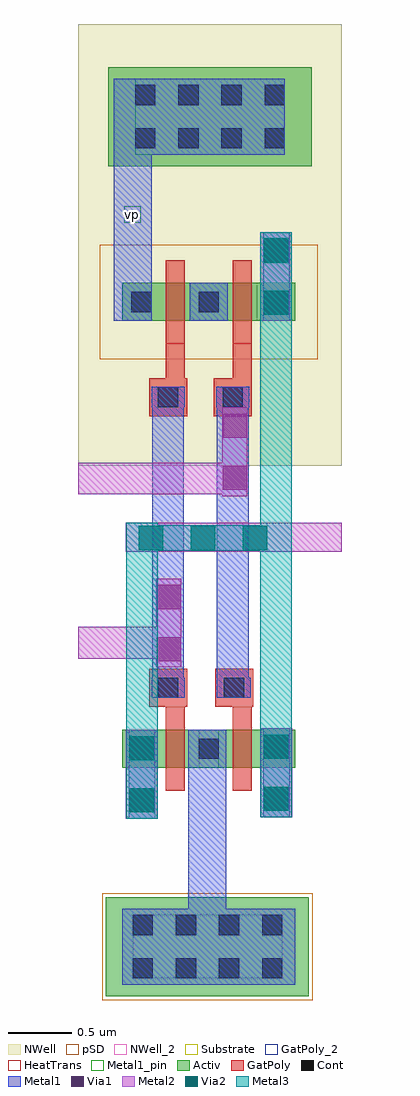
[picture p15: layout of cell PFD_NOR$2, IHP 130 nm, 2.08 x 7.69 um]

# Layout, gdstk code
import gdstk
lib = gdstk.Library(unit=1e-6, precision=1e-09)
def R(c, l, rs):  # rectangles x0, y0, x1, y1
    for r in rs: c.add(gdstk.rectangle(r[:2], r[2:], *l))
def A(c, l, x, y, w, h, nx, ny, dx, dy):  # array of equal rectangles
    R(c, l, [(x+i*dx, y+j*dy, x+i*dx+w, y+j*dy+h) for i in range(nx) for j in range(ny)])
Activ = (1, 0)
GatPoly = (5, 0)
GatPoly_2 = (5, 2)
Cont = (6, 0)
Metal1 = (8, 0)
Metal1_pin = (8, 2)
Metal2 = (10, 0)
pSD = (14, 0)
Via1 = (19, 0)
Via2 = (29, 0)
Metal3 = (30, 0)
NWell = (31, 0)
NWell_2 = (31, 2)
Substrate = (40, 0)
HeatTrans = (51, 0)

pmos_5 = lib.new_cell('pmos$5')
R(pmos_5, Activ, [(0,0,0.3,0.3), (0,0,0.83,0.3), (0.53,0,0.83,0.3)])
R(pmos_5, GatPoly, [(0.34,-0.18,0.49,0.48), (0.34,-0.18,0.49,0.48)])
R(pmos_5, Cont, [(0.07,0.07,0.23,0.23), (0.6,0.07,0.76,0.23)])
R(pmos_5, Metal1, [(0.07,0,0.23,0.3), (0.07,0,0.23,0.3), (0.6,0,0.76,0.3), (0.6,0,0.76,0.3)])
R(pmos_5, pSD, [(-0.18,-0.3,1.01,0.6)])
R(pmos_5, NWell, [(-0.31,-0.31,1.14,0.61)])
R(pmos_5, Substrate, [(0.53,0,0.83,0.3)])
R(pmos_5, HeatTrans, [(0.34,-0.18,0.49,0.48)])
pmos_5.add(gdstk.Label('pmos', (0.415,0.15), layer=63, texttype=0))
pmos_5.add(gdstk.Label('pmos', (0.415,0.15), layer=51, texttype=0))

ntap1_5 = lib.new_cell('ntap1$5')
R(ntap1_5, Activ, [(0,0,1.6,0.78)])
A(ntap1_5, Cont, 0.21, 0.14, 0.16, 0.16, 4, 2, 0.34, 0.34)
R(ntap1_5, Metal1, [(0.21,0.09,1.39,0.69)])
R(ntap1_5, Metal1_pin, [(0.21,0.09,1.39,0.69), (0.21,0.14,1.39,0.64)])
R(ntap1_5, NWell, [(-0.24,-0.24,1.84,1.02), (0,0,1.6,0.78)])
R(ntap1_5, NWell_2, [(0,0,1.6,0.78)])
ntap1_5.add(gdstk.Label('well', (0.8,0.01), layer=63, texttype=0))
ntap1_5.add(gdstk.Label('well', (0.8,0.01), layer=31, texttype=0))

via_5_4 = lib.new_cell('Via$5$4')
R(via_5_4, GatPoly, [(-0.15,-0.15,0.15,0.15)])
R(via_5_4, Cont, [(-0.08,-0.08,0.08,0.08)])
R(via_5_4, Metal1, [(-0.13,-0.08,0.13,0.08)])

via_6_3 = lib.new_cell('Via$6$3')
R(via_6_3, Metal1, [(-0.105,-0.35,0.105,0.35)])
R(via_6_3, Metal2, [(-0.1,-0.35,0.1,0.35)])
R(via_6_3, Via1, [(-0.095,-0.3,0.095,-0.11), (-0.095,0.11,0.095,0.3)])

ptap1_5 = lib.new_cell('ptap1$5')
R(ptap1_5, Activ, [(0,0,1.6,0.78)])
A(ptap1_5, Cont, 0.21, 0.14, 0.16, 0.16, 4, 2, 0.34, 0.34)
R(ptap1_5, Metal1, [(0.21,0.09,1.39,0.69), (0.21,0.14,1.39,0.64)])
R(ptap1_5, Metal1_pin, [(0.21,0.14,1.39,0.64)])
R(ptap1_5, pSD, [(-0.03,-0.03,1.63,0.81)])
R(ptap1_5, Substrate, [(0,0,1.6,0.78)])
ptap1_5.add(gdstk.Label('sub!', (0.8,0.01), layer=63, texttype=0))
ptap1_5.add(gdstk.Label('sub!', (0.8,0.01), layer=40, texttype=0))

nmos_5 = lib.new_cell('nmos$5')
R(nmos_5, Activ, [(0,0,0.3,0.3), (0,0,0.83,0.3), (0.53,0,0.83,0.3)])
R(nmos_5, GatPoly, [(0.34,-0.18,0.49,0.48)])
R(nmos_5, GatPoly_2, [(0.34,-0.18,0.49,0.48)])
R(nmos_5, Cont, [(0.07,0.07,0.23,0.23), (0.6,0.07,0.76,0.23)])
R(nmos_5, Metal1, [(0.07,0,0.23,0.3), (0.6,0,0.76,0.3)])
R(nmos_5, Metal1_pin, [(0.07,0,0.23,0.3), (0.6,0,0.76,0.3)])
R(nmos_5, HeatTrans, [(0.34,-0.18,0.49,0.48)])
nmos_5.add(gdstk.Label('nmos', (0.415,0.15), layer=63, texttype=0))
nmos_5.add(gdstk.Label('nmos', (0.415,0.15), layer=51, texttype=0))

via_15 = lib.new_cell('Via$15')
R(via_15, Metal2, [(-0.1,-0.35,0.1,0.35)])
R(via_15, Via2, [(-0.095,-0.3,0.095,-0.11), (-0.095,0.11,0.095,0.3)])
R(via_15, Metal3, [(-0.1,-0.35,0.1,0.35)])

via_7_3 = lib.new_cell('Via$7$3')
R(via_7_3, Metal2, [(-0.555,-0.1,0.555,0.1)])
A(via_7_3, Via2, -0.505, -0.095, 0.19, 0.19, 3, 1, 0.41, 0)
R(via_7_3, Metal3, [(-0.555,-0.1,0.555,0.1)])

pfd_nor_2 = lib.new_cell('PFD_NOR$2')
R(pfd_nor_2, GatPoly, [(0.53,0.13,0.68,0.41), (0,0.14,0.15,0.41)])
R(pfd_nor_2, Metal1, [(-0.34,-4.64,1.02,-4.04), (0.19,0.59,0.49,0.89)])
R(pfd_nor_2, Metal1_pin, [(-0.325,1.365,-0.195,1.495)])
R(pfd_nor_2, Metal2, [(-0.315,-1.23,1.39,-1)])
R(pfd_nor_2, NWell, [(-0.69,-0.55,1.39,2.93)])
pfd_nor_2.add(gdstk.FlexPath([(0.875,-2.62),(0.875,-3.32)], 0.25, ends="flush", simple_path=True, layer=10, datatype=0))  # Metal2
pfd_nor_2.add(gdstk.FlexPath([(-0.19,-2.63),(-0.19,-3.33)], 0.25, ends="flush", simple_path=True, layer=10, datatype=0))  # Metal2
pfd_nor_2.add(gdstk.FlexPath([(0.87,1.29),(0.87,0.59)], 0.25, ends="flush", simple_path=True, layer=10, datatype=0))  # Metal2
pfd_nor_2.add(gdstk.FlexPath([(0.64,-0.65),(-0.69,-0.65)], 0.25, ends="flush", simple_path=True, layer=10, datatype=0))  # Metal2
pfd_nor_2.add(gdstk.FlexPath([(0.125,-1.945),(-0.69,-1.945)], 0.25, ends="flush", simple_path=True, layer=10, datatype=0))  # Metal2
pfd_nor_2.add(gdstk.FlexPath([(0.87,-3.32),(0.87,1.29)], 0.25, ends="flush", simple_path=True, layer=30, datatype=0))  # Metal3
pfd_nor_2.add(gdstk.FlexPath([(-0.185,-3.33),(-0.185,-1)], 0.25, ends="flush", simple_path=True, layer=30, datatype=0))  # Metal3
pfd_nor_2.add(gdstk.FlexPath([(-0.26,0.59),(-0.26,2.5)], 0.3, ends="flush", simple_path=True, layer=8, datatype=0))  # Metal1
pfd_nor_2.add(gdstk.FlexPath([(0.02,0.07),(0.02,-2.38)], 0.25, ends="flush", simple_path=True, layer=8, datatype=0))  # Metal1
pfd_nor_2.add(gdstk.FlexPath([(0.53,0.07),(0.53,-2.38)], 0.25, ends="flush", simple_path=True, layer=8, datatype=0))  # Metal1
pfd_nor_2.add(gdstk.FlexPath([(0.33,-2.63),(0.33,-4.04)], 0.3, ends="flush", simple_path=True, layer=8, datatype=0))  # Metal1
pfd_nor_2.add(gdstk.Reference(pmos_5, (-0.34,0.59)))
pfd_nor_2.add(gdstk.Reference(pmos_5, (0.19,0.59)))
pfd_nor_2.add(gdstk.Reference(ntap1_5, (-0.45,1.81)))
pfd_nor_2.add(gdstk.Reference(via_5_4, (0.02,-0.01)))
pfd_nor_2.add(gdstk.Reference(via_5_4, (0.53,-0.01)))
pfd_nor_2.add(gdstk.Reference(via_5_4, (0.02,-2.3)))
pfd_nor_2.add(gdstk.Reference(via_5_4, (0.54,-2.3)))
pfd_nor_2.add(gdstk.Reference(via_6_3, (0.025,-1.79)))
pfd_nor_2.add(gdstk.Reference(via_6_3, (0.545,-0.44)))
pfd_nor_2.add(gdstk.Reference(ptap1_5, (-0.47,-4.73)))
pfd_nor_2.add(gdstk.Reference(nmos_5, (-0.34,-2.93)))
pfd_nor_2.add(gdstk.Reference(nmos_5, (0.19,-2.93)))
pfd_nor_2.add(gdstk.Reference(via_15, (0.87,0.94)))
pfd_nor_2.add(gdstk.Reference(via_6_3, (0.875,0.94)))
pfd_nor_2.add(gdstk.Reference(via_15, (0.87,-2.97)))
pfd_nor_2.add(gdstk.Reference(via_6_3, (0.875,-2.97)))
pfd_nor_2.add(gdstk.Reference(via_15, (-0.19,-2.98)))
pfd_nor_2.add(gdstk.Reference(via_6_3, (-0.185,-2.98)))
pfd_nor_2.add(gdstk.Reference(via_7_3, (0.295,-1.12)))
pfd_nor_2.add(gdstk.Label('vp', (-0.26,1.43), layer=8, texttype=25))

lib.write_gds('PFD_NOR_2.gds')
